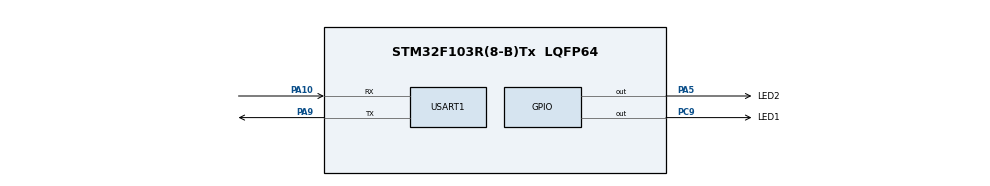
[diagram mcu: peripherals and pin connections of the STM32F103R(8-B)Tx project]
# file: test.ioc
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Dma.Request0=USART1_RX
Dma.USART1_RX.0.Direction=DMA_PERIPH_TO_MEMORY
Dma.USART1_RX.0.Instance=DMA1_Channel5
Dma.USART1_RX.0.MemDataAlignment=DMA_MDATAALIGN_BYTE
Dma.USART1_RX.0.MemInc=DMA_MINC_ENABLE
Dma.USART1_RX.0.Mode=DMA_CIRCULAR
Dma.USART1_RX.0.PeriphDataAlignment=DMA_PDATAALIGN_BYTE
Dma.USART1_RX.0.PeriphInc=DMA_PINC_DISABLE
Dma.USART1_RX.0.Priority=DMA_PRIORITY_LOW
Mcu.Family=STM32F1
Mcu.Name=STM32F103R(8-B)Tx
Mcu.Package=LQFP64
NVIC.DMA1_Channel5_IRQn=true\:0\:0\:false\:false\:true\:false\:true\:true
NVIC.PriorityGroup=NVIC_PRIORITYGROUP_4
NVIC.TIM2_IRQn=true\:0\:0\:false\:false\:true\:true\:true\:true
NVIC.USART1_IRQn=true\:0\:0\:false\:false\:true\:true\:true\:true
PA10.Mode=Asynchronous
PA10.Signal=USART1_RX
PA5.GPIO_Label=LED2
PA5.Signal=GPIO_Output
PA9.Mode=Asynchronous
PA9.Signal=USART1_TX
PC9.GPIO_Label=LED1
PC9.Signal=GPIO_Output
ProjectManager.HeapSize=0x200
ProjectManager.StackSize=0x400
ProjectManager.TargetToolchain=STM32CubeIDE
RCC.APB1Freq_Value=8000000
RCC.APB2Freq_Value=8000000
TIM2.Period=9
TIM2.Prescaler=7999
USART1.VirtualMode=VM_ASYNC
VP_TIM2_VS_ClockSourceINT.Mode=Internal
board=custom

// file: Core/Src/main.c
/* USER CODE BEGIN Header */
/**
  ******************************************************************************
  * @file           : main.c
  * @brief          : Main program body
  ******************************************************************************
  * @attention
  *
  * Copyright (c) 2023 STMicroelectronics.
  * All rights reserved.
  *
  * This software is licensed under terms that can be found in the LICENSE file
  * in the root directory of this software component.
  * If no LICENSE file comes with this software, it is provided AS-IS.
  *
  ******************************************************************************
  */
/* USER CODE END Header */
#include "main.h"

TIM_HandleTypeDef htim2;

UART_HandleTypeDef huart1;
DMA_HandleTypeDef hdma_usart1_rx;

/* USER CODE BEGIN PV */
#define RX_SIZE 1
uint8_t rxBuffer[RX_SIZE] = {0};
uint8_t size = 0;
/* USER CODE END PV */

void SystemClock_Config(void);
static void MX_GPIO_Init(void);
static void MX_DMA_Init(void);
static void MX_TIM2_Init(void);
static void MX_USART1_UART_Init(void);
/* USER CODE BEGIN PFP */
void HAL_UARTEx_RxEventCallback(UART_HandleTypeDef *huart, uint16_t Size)
{
    HAL_UART_Receive_DMA(&huart1, rxBuffer, RX_SIZE);
    size = Size;
}

/* USER CODE END PFP */

/* USER CODE BEGIN 0 */
void HAL_TIM_PeriodElapsedCallback(TIM_HandleTypeDef *htim){
	SCH_Update();
}
//uint8_t tx_buff[]={0,1,2,3,4,5,6,7,8,9};
void sendData(){
	char data[20] = "!1:T:39.5#";
	HAL_UART_Transmit(&huart1,(uint8_t*)data,20,2);
}
void testLED1(){
    if (rxBuffer[0] == '2'){
    	HAL_GPIO_WritePin(LED1_GPIO_Port, LED1_Pin, GPIO_PIN_SET);
    }
    else if (rxBuffer[0] == '1'){
    	HAL_GPIO_WritePin(LED1_GPIO_Port, LED1_Pin, GPIO_PIN_RESET);
    }
}
void testLED2(){
//	  HAL_GPIO_TogglePin(LED2_GPIO_Port, LED2_Pin);
    if (rxBuffer[0] == '4'){
    	HAL_GPIO_WritePin(LED2_GPIO_Port, LED2_Pin, GPIO_PIN_SET);
    }
    else if (rxBuffer[0] == '3'){
    	HAL_GPIO_WritePin(LED2_GPIO_Port, LED2_Pin, GPIO_PIN_RESET);
    }
}
void HAL_UART_RxCpltCallback(UART_HandleTypeDef *huart)
{
	__NOP();//check if we receive all data
}
/* USER CODE END 0 */

int main(void)
{

  /* MCU Configuration--------------------------------------------------------*/

  /* Reset of all peripherals, Initializes the Flash interface and the Systick. */
  HAL_Init();

  /* Configure the system clock */
  SystemClock_Config();

  /* Initialize all configured peripherals */
  MX_GPIO_Init();
  MX_DMA_Init();
  MX_TIM2_Init();
  MX_USART1_UART_Init();
  /* USER CODE BEGIN 2 */
  HAL_TIM_Base_Start_IT(&htim2);
  HAL_UART_Receive_DMA(&huart1, rxBuffer, RX_SIZE);
//#define DELAY 300
  SCH_Init();
//  uint8_t Rx_data[10];
//  void HAL_UART_RxHalfCpltCallback(UART_HandleTypeDef *huart)
//  {
//
//	  HAL_GPIO_TogglePin(LED1_GPIO_Port, LED1_Pin);  // toggle PA0
//  }
//  void HAL_UART_RxCpltCallback(UART_HandleTypeDef *huart)
//  {
//    HAL_UART_Receive_DMA(&huart1, Rx_data, 4);
//  }
//  SCH_Add_Task(testLED2, DELAY, 100); // ID 0
  SCH_Add_Task(sendData, 1000, 500); // ID 1

  /* USER CODE END 2 */

  /* Infinite loop */
  while (1)
  {
    /* USER CODE BEGIN 3 */
	  SCH_Dispatch_Tasks();
	  testLED1();
	  testLED2();
  }
  /* USER CODE END 3 */
}

void SystemClock_Config(void)
{
  RCC_OscInitTypeDef RCC_OscInitStruct = {0};
  RCC_ClkInitTypeDef RCC_ClkInitStruct = {0};

  /** Initializes the RCC Oscillators according to the specified parameters
  * in the RCC_OscInitTypeDef structure.
  */
  RCC_OscInitStruct.OscillatorType = RCC_OSCILLATORTYPE_HSI;
  RCC_OscInitStruct.HSIState = RCC_HSI_ON;
  RCC_OscInitStruct.HSICalibrationValue = RCC_HSICALIBRATION_DEFAULT;
  RCC_OscInitStruct.PLL.PLLState = RCC_PLL_NONE;
  if (HAL_RCC_OscConfig(&RCC_OscInitStruct) != HAL_OK)
  {
    Error_Handler();
  }

  /** Initializes the CPU, AHB and APB buses clocks
  */
  RCC_ClkInitStruct.ClockType = RCC_CLOCKTYPE_HCLK|RCC_CLOCKTYPE_SYSCLK
                              |RCC_CLOCKTYPE_PCLK1|RCC_CLOCKTYPE_PCLK2;
  RCC_ClkInitStruct.SYSCLKSource = RCC_SYSCLKSOURCE_HSI;
  RCC_ClkInitStruct.AHBCLKDivider = RCC_SYSCLK_DIV1;
  RCC_ClkInitStruct.APB1CLKDivider = RCC_HCLK_DIV1;
  RCC_ClkInitStruct.APB2CLKDivider = RCC_HCLK_DIV1;

  if (HAL_RCC_ClockConfig(&RCC_ClkInitStruct, FLASH_LATENCY_0) != HAL_OK)
  {
    Error_Handler();
  }
}

static void MX_TIM2_Init(void)
{

  TIM_ClockConfigTypeDef sClockSourceConfig = {0};
  TIM_MasterConfigTypeDef sMasterConfig = {0};

  htim2.Instance = TIM2;
  htim2.Init.Prescaler = 7999;
  htim2.Init.CounterMode = TIM_COUNTERMODE_UP;
  htim2.Init.Period = 9;
  htim2.Init.ClockDivision = TIM_CLOCKDIVISION_DIV1;
  htim2.Init.AutoReloadPreload = TIM_AUTORELOAD_PRELOAD_DISABLE;
  if (HAL_TIM_Base_Init(&htim2) != HAL_OK)
  {
    Error_Handler();
  }
  sClockSourceConfig.ClockSource = TIM_CLOCKSOURCE_INTERNAL;
  if (HAL_TIM_ConfigClockSource(&htim2, &sClockSourceConfig) != HAL_OK)
  {
    Error_Handler();
  }
  sMasterConfig.MasterOutputTrigger = TIM_TRGO_RESET;
  sMasterConfig.MasterSlaveMode = TIM_MASTERSLAVEMODE_DISABLE;
  if (HAL_TIMEx_MasterConfigSynchronization(&htim2, &sMasterConfig) != HAL_OK)
  {
    Error_Handler();
  }

}

static void MX_USART1_UART_Init(void)
{

  huart1.Instance = USART1;
  huart1.Init.BaudRate = 115200;
  huart1.Init.WordLength = UART_WORDLENGTH_8B;
  huart1.Init.StopBits = UART_STOPBITS_1;
  huart1.Init.Parity = UART_PARITY_NONE;
  huart1.Init.Mode = UART_MODE_TX_RX;
  huart1.Init.HwFlowCtl = UART_HWCONTROL_NONE;
  huart1.Init.OverSampling = UART_OVERSAMPLING_16;
  if (HAL_UART_Init(&huart1) != HAL_OK)
  {
    Error_Handler();
  }

}

static void MX_DMA_Init(void)
{

  /* DMA controller clock enable */
  __HAL_RCC_DMA1_CLK_ENABLE();

  /* DMA interrupt init */
  /* DMA1_Channel5_IRQn interrupt configuration */
  HAL_NVIC_SetPriority(DMA1_Channel5_IRQn, 0, 0);
  HAL_NVIC_EnableIRQ(DMA1_Channel5_IRQn);

}

static void MX_GPIO_Init(void)
{
  GPIO_InitTypeDef GPIO_InitStruct = {0};

  /* GPIO Ports Clock Enable */
  __HAL_RCC_GPIOA_CLK_ENABLE();
  __HAL_RCC_GPIOC_CLK_ENABLE();

  /*Configure GPIO pin Output Level */
  HAL_GPIO_WritePin(LED2_GPIO_Port, LED2_Pin, GPIO_PIN_RESET);

  /*Configure GPIO pin Output Level */
  HAL_GPIO_WritePin(LED1_GPIO_Port, LED1_Pin, GPIO_PIN_RESET);

  /*Configure GPIO pin : LED2_Pin */
  GPIO_InitStruct.Pin = LED2_Pin;
  GPIO_InitStruct.Mode = GPIO_MODE_OUTPUT_PP;
  GPIO_InitStruct.Pull = GPIO_NOPULL;
  GPIO_InitStruct.Speed = GPIO_SPEED_FREQ_LOW;
  HAL_GPIO_Init(LED2_GPIO_Port, &GPIO_InitStruct);

  /*Configure GPIO pin : LED1_Pin */
  GPIO_InitStruct.Pin = LED1_Pin;
  GPIO_InitStruct.Mode = GPIO_MODE_OUTPUT_PP;
  GPIO_InitStruct.Pull = GPIO_NOPULL;
  GPIO_InitStruct.Speed = GPIO_SPEED_FREQ_LOW;
  HAL_GPIO_Init(LED1_GPIO_Port, &GPIO_InitStruct);

}

void Error_Handler(void)
{
  __disable_irq();
  while (1)
  {
  }
}
